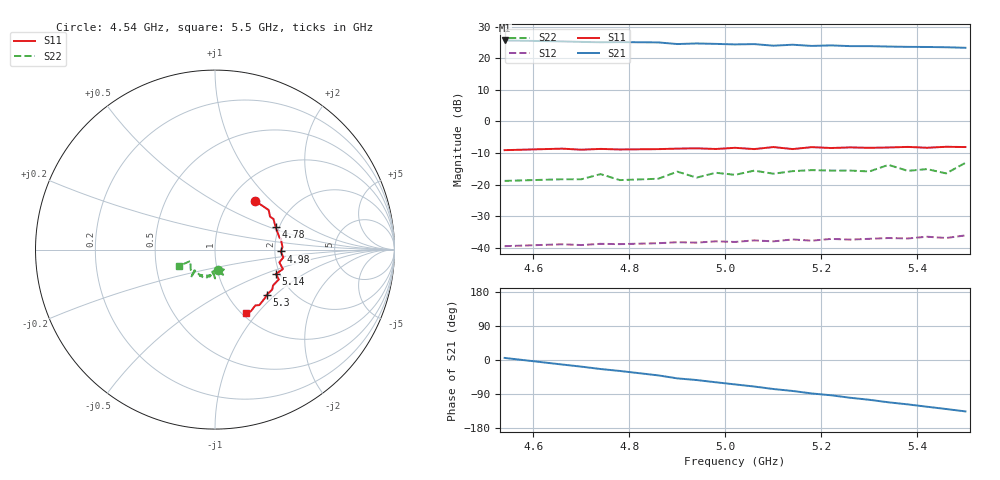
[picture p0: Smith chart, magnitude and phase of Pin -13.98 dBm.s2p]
! RsaToolbox (C) 2015 Rohde & Schwarz America
! Number of points: 22
! Number of ports: 2
! Balanced ports?: No
# Hz S RI R 50
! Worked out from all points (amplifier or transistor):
!   22 points, 4.54 GHz to 5.5 GHz, reference 50 ohm
!   highest |S21| = 25.6 dB at 4.54 GHz (marker M1)
!   |S21| within 3 dB of that: start of sweep to end of sweep
!   unconditionally stable (mu >= 1): start of sweep to end of sweep
!   at 4.74 GHz: K = 2.09, MAG = 26.0 dB, |S12| = -38.7 dB
!   at 5.1 GHz: K = 2.11, MAG = 25.0 dB, |S12| = -37.9 dB
!   at 5.5 GHz: K = 1.79, MAG = 24.5 dB, |S12| = -36.1 dB
!   S11 on the Smith chart (normalised r, x): 4.54 GHz: 1.30, +0.80; 4.78 GHz: 1.91, +0.56; 4.98 GHz: 2.16, -0.05; 5.14 GHz: 1.90, -0.60; 5.3 GHz: 1.49, -0.88; 5.5 GHz: 1.04, -0.87
4.54e9  0.2247 0.2704  19.05 1.825  0.0103 -0.00271  0.0191 -0.1132
4.66e9  0.299 0.2206  18.08 -3.819  0.0103 -0.00494  0.0496 -0.1112
4.7e9  0.3069 0.1831  17.29 -5.466  0.00899 -0.00647  0.000494 -0.1217
4.74e9  0.3257 0.1711  16.4 -7.24  0.00954 -0.00658  0.0454 -0.1396
4.78e9  0.3371 0.127  15.78 -8.714  0.0082 -0.00801  0.00944 -0.1177
4.86e9  0.3589 0.0672  13.53 -11.6  0.00716 -0.00943  -0.0155 -0.1231
4.9e9  0.3671 0.0593  11.12 -12.57  0.00708 -0.01  0.000566 -0.1607
4.94e9  0.3758 0.0136  10.36 -13.68  0.00588 -0.0106  -0.00848 -0.129
4.98e9  0.3668 -0.0102  8.752 -14.44  0.00534 -0.0115  -0.0298 -0.1514
5.02e9  0.3804 -0.0446  7.158 -14.94  0.00446 -0.0116  -0.0267 -0.1406
5.06e9  0.3586 -0.071  5.735 -15.74  0.00331 -0.0127  -0.0503 -0.1589
5.1e9  0.3783 -0.1084  3.668 -15.38  0.00275 -0.0124  -0.0309 -0.1458
5.14e9  0.3395 -0.1363  2.364 -16.21  0.000971 -0.0136  -0.084 -0.1405
5.18e9  0.3555 -0.1665  0.466 -15.67  0.000507 -0.013  -0.0643 -0.1572
5.22e9  0.3236 -0.1992  -0.856 -15.96  -0.00105 -0.0138  -0.0847 -0.1441
5.26e9  0.319 -0.2222  -2.601 -15.34  -0.00166 -0.0134  -0.0784 -0.1475
5.3e9  0.2878 -0.2526  -4.033 -15.03  -0.00323 -0.0135  -0.1141 -0.1149
5.34e9  0.2794 -0.2686  -5.664 -14.24  -0.00402 -0.0137  -0.1347 -0.1555
5.38e9  0.247 -0.3091  -6.906 -13.48  -0.00553 -0.013  -0.1124 -0.1211
5.42e9  0.225 -0.3109  -8.282 -12.61  -0.00657 -0.0135  -0.1354 -0.1128
5.46e9  0.1996 -0.3438  -9.477 -11.55  -0.00775 -0.012  -0.137 -0.0631
5.5e9  0.1725 -0.3539  -10.47 -10.23  -0.00892 -0.013  -0.2013 -0.0924
